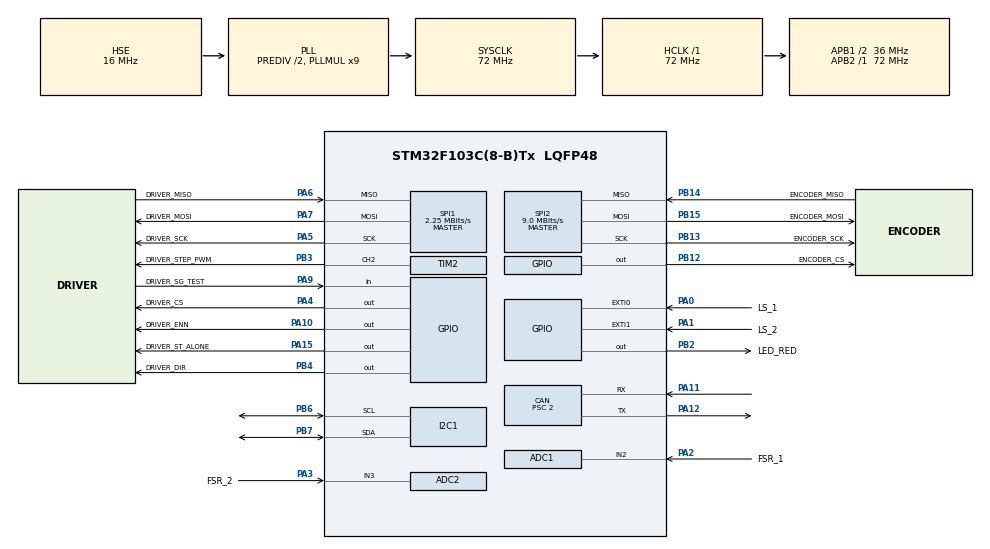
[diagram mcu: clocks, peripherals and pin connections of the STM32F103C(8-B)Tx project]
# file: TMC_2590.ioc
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ADC1.Channel-0\#ChannelRegularConversion=ADC_CHANNEL_2
ADC1.EnableAnalogWatchDog=true
ADC1.NbrOfConversionFlag=1
ADC1.Rank-0\#ChannelRegularConversion=1
ADC1.SamplingTime-0\#ChannelRegularConversion=ADC_SAMPLETIME_1CYCLE_5
ADC1.WatchdogChannel=ADC_CHANNEL_2
ADC1.master=1
ADC2.Channel-0\#ChannelRegularConversion=ADC_CHANNEL_3
ADC2.EnableAnalogWatchDog=true
ADC2.NbrOfConversionFlag=1
ADC2.Rank-0\#ChannelRegularConversion=1
ADC2.SamplingTime-0\#ChannelRegularConversion=ADC_SAMPLETIME_1CYCLE_5
ADC2.WatchdogChannel=ADC_CHANNEL_3
CAN.BS1=CAN_BS1_15TQ
CAN.BS2=CAN_BS2_2TQ
CAN.CalculateBaudRate=1000000
CAN.CalculateTimeBit=1000
CAN.CalculateTimeQuantum=55.55555555555556
CAN.NART=ENABLE
CAN.Prescaler=2
CAN.SJW=CAN_SJW_2TQ
Mcu.Family=STM32F1
Mcu.Name=STM32F103C(8-B)Tx
Mcu.Package=LQFP48
NVIC.ADC1_2_IRQn=true\:0\:0\:false\:false\:true\:true\:true\:true
NVIC.EXTI0_IRQn=true\:1\:0\:true\:false\:true\:true\:true\:true
NVIC.EXTI1_IRQn=true\:1\:0\:true\:false\:true\:true\:true\:true
NVIC.PriorityGroup=NVIC_PRIORITYGROUP_4
NVIC.USB_LP_CAN1_RX0_IRQn=true\:2\:0\:true\:false\:true\:true\:true\:true
PA0-WKUP.GPIO_Label=LS_1
PA0-WKUP.GPIO_ModeDefaultEXTI=GPIO_MODE_IT_RISING_FALLING
PA0-WKUP.Signal=GPXTI0
PA1.GPIO_Label=LS_2
PA1.GPIO_ModeDefaultEXTI=GPIO_MODE_IT_RISING_FALLING
PA1.Signal=GPXTI1
PA10.GPIO_Label=DRIVER_ENN
PA10.Signal=GPIO_Output
PA11.Mode=CAN_Activate
PA11.Signal=CAN_RX
PA12.Mode=CAN_Activate
PA12.Signal=CAN_TX
PA13.Mode=Serial_Wire
PA13.Signal=SYS_JTMS-SWDIO
PA14.Mode=Serial_Wire
PA14.Signal=SYS_JTCK-SWCLK
PA15.GPIO_Label=DRIVER_ST_ALONE
PA15.Signal=GPIO_Output
PA2.GPIO_Label=FSR_1
PA2.Signal=ADCx_IN2
PA3.GPIO_Label=FSR_2
PA3.Signal=ADCx_IN3
PA4.GPIO_Label=DRIVER_CS
PA4.Signal=GPIO_Output
PA5.GPIO_Label=DRIVER_SCK
PA5.Mode=Full_Duplex_Master
PA5.Signal=SPI1_SCK
PA6.GPIO_Label=DRIVER_MISO
PA6.Mode=Full_Duplex_Master
PA6.Signal=SPI1_MISO
PA7.GPIO_Label=DRIVER_MOSI
PA7.Mode=Full_Duplex_Master
PA7.Signal=SPI1_MOSI
PA9.GPIO_Label=DRIVER_SG_TEST
PA9.Signal=GPIO_Input
PB12.GPIO_Label=ENCODER_CS
PB12.Signal=GPIO_Output
PB13.GPIO_Label=ENCODER_SCK
PB13.Mode=Full_Duplex_Master
PB13.Signal=SPI2_SCK
PB14.GPIO_Label=ENCODER_MISO
PB14.Mode=Full_Duplex_Master
PB14.Signal=SPI2_MISO
PB15.GPIO_Label=ENCODER_MOSI
PB15.Mode=Full_Duplex_Master
PB15.Signal=SPI2_MOSI
PB2.GPIO_Label=LED_RED
PB2.Signal=GPIO_Output
PB3.GPIO_Label=DRIVER_STEP_PWM
PB3.Signal=S_TIM2_CH2
PB4.GPIO_Label=DRIVER_DIR
PB4.Signal=GPIO_Output
PB6.Mode=I2C
PB6.Signal=I2C1_SCL
PB7.Mode=I2C
PB7.Signal=I2C1_SDA
PD0-OSC_IN.Mode=HSE-External-Oscillator
PD0-OSC_IN.Signal=RCC_OSC_IN
PD1-OSC_OUT.Mode=HSE-External-Oscillator
PD1-OSC_OUT.Signal=RCC_OSC_OUT
ProjectManager.HeapSize=0x200
ProjectManager.StackSize=0x400
ProjectManager.TargetToolchain=STM32CubeIDE
RCC.ADCPresc=RCC_ADCPCLK2_DIV6
RCC.AHBFreq_Value=72000000
RCC.APB1CLKDivider=RCC_HCLK_DIV2
RCC.APB1Freq_Value=36000000
RCC.APB1TimFreq_Value=72000000
RCC.APB2Freq_Value=72000000
RCC.APB2TimFreq_Value=72000000
RCC.HCLKFreq_Value=72000000
RCC.HSEDivPLL=RCC_HSE_PREDIV_DIV2
RCC.HSE_VALUE=16000000
RCC.PLLMUL=RCC_PLL_MUL9
RCC.PLLSourceVirtual=RCC_PLLSOURCE_HSE
RCC.SYSCLKFreq_VALUE=72000000
RCC.SYSCLKSource=RCC_SYSCLKSOURCE_PLLCLK
RCC.USBFreq_Value=72000000
SH.ADCx_IN2.0=ADC1_IN2,IN2
SH.ADCx_IN3.0=ADC2_IN3,IN3
SH.S_TIM2_CH2.0=TIM2_CH2,PWM Generation2 CH2
SPI1.BaudRatePrescaler=SPI_BAUDRATEPRESCALER_32
SPI1.CalculateBaudRate=2.25 MBits/s
SPI1.Direction=SPI_DIRECTION_2LINES
SPI1.Mode=SPI_MODE_MASTER
SPI1.VirtualType=VM_MASTER
SPI2.BaudRatePrescaler=SPI_BAUDRATEPRESCALER_4
SPI2.CLKPhase=SPI_PHASE_2EDGE
SPI2.CalculateBaudRate=9.0 MBits/s
SPI2.Direction=SPI_DIRECTION_2LINES
SPI2.Mode=SPI_MODE_MASTER
SPI2.VirtualType=VM_MASTER
TIM2.Channel-PWM\ Generation2\ CH2=TIM_CHANNEL_2
TIM2.Period=65535
board=custom

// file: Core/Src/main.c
/* USER CODE BEGIN Header */
/**
 ******************************************************************************
 * @file           : main.c
 * @brief          : Main program body
 ******************************************************************************
 * @attention
 *
 * Copyright (c) 2024 STMicroelectronics.
 * All rights reserved.
 *
 * This software is licensed under terms that can be found in the LICENSE file
 * in the root directory of this software component.
 * If no LICENSE file comes with this software, it is provided AS-IS.
 *
 ******************************************************************************
 */
/* USER CODE END Header */
#include "main.h"
#include "adc.h"
#include "can.h"
#include "i2c.h"
#include "spi.h"
#include "tim.h"
#include "gpio.h"

/* USER CODE BEGIN Includes */
#include "tmc_2590.h"
/* USER CODE END Includes */

/* USER CODE BEGIN PD */

void LS_Released_Callback(LS_NUMBER *num);
void LS_Pressed_Callback(LS_NUMBER *num);

/* USER CODE END PD */

void SystemClock_Config(void);

int main(void)
{

  /* MCU Configuration--------------------------------------------------------*/

  /* Reset of all peripherals, Initializes the Flash interface and the Systick. */
  HAL_Init();

  /* Configure the system clock */
  SystemClock_Config();

  /* Initialize all configured peripherals */
  MX_GPIO_Init();
  MX_CAN_Init();
  MX_I2C1_Init();
  MX_SPI1_Init();
  MX_SPI2_Init();
  MX_ADC1_Init();
  MX_ADC2_Init();
  MX_TIM2_Init();
  /* USER CODE BEGIN 2 */
    MX_TMC_2590_1_Init();
    LS_Initialize();

    uint8_t callbacksSet = 0;

  /* USER CODE END 2 */

  /* Infinite loop */
  /* USER CODE BEGIN WHILE */
    while (1)
    {
        TMC_2590_MoveSteps(&tmc_2590_1, 100);
        HAL_Delay(100);

        //UNCOMMENT BELOW FOR LS TEST - INTERRUPT BASED

        if (!callbacksSet)
        {
            //make this only happen once
            LS_RegisterPressedCallback(&LS_Pressed_Callback);
            LS_RegisterReleasedCallback(&LS_Released_Callback);
            callbacksSet = 1;
        }

        //UNCOMMENT BELOW FOR LS TEST - POLLING BASED
        // LS_STATE button;

        // LS_GetState(LS_1, &button);

        // switch (button)
        // {
        //     case LS_STATE_RELEASED:
        //         HAL_GPIO_WritePin(LED_RED_GPIO_Port, LED_RED_Pin, GPIO_PIN_RESET);
        //         break;
        //     case LS_STATE_PRESSED:
        //         HAL_GPIO_WritePin(LED_RED_GPIO_Port, LED_RED_Pin, GPIO_PIN_RESET);
        //         break;
        //     default:
        //         HAL_GPIO_WritePin(LED_RED_GPIO_Port, LED_RED_Pin, GPIO_PIN_RESET);
        //         break;
        // }

    /* USER CODE END WHILE */

    }
}

void SystemClock_Config(void)
{
  RCC_OscInitTypeDef RCC_OscInitStruct = {0};
  RCC_ClkInitTypeDef RCC_ClkInitStruct = {0};
  RCC_PeriphCLKInitTypeDef PeriphClkInit = {0};

  /** Initializes the RCC Oscillators according to the specified parameters
  * in the RCC_OscInitTypeDef structure.
  */
  RCC_OscInitStruct.OscillatorType = RCC_OSCILLATORTYPE_HSE;
  RCC_OscInitStruct.HSEState = RCC_HSE_ON;
  RCC_OscInitStruct.HSEPredivValue = RCC_HSE_PREDIV_DIV2;
  RCC_OscInitStruct.HSIState = RCC_HSI_ON;
  RCC_OscInitStruct.PLL.PLLState = RCC_PLL_ON;
  RCC_OscInitStruct.PLL.PLLSource = RCC_PLLSOURCE_HSE;
  RCC_OscInitStruct.PLL.PLLMUL = RCC_PLL_MUL9;
  if (HAL_RCC_OscConfig(&RCC_OscInitStruct) != HAL_OK)
  {
    Error_Handler();
  }

  /** Initializes the CPU, AHB and APB buses clocks
  */
  RCC_ClkInitStruct.ClockType = RCC_CLOCKTYPE_HCLK|RCC_CLOCKTYPE_SYSCLK
                              |RCC_CLOCKTYPE_PCLK1|RCC_CLOCKTYPE_PCLK2;
  RCC_ClkInitStruct.SYSCLKSource = RCC_SYSCLKSOURCE_PLLCLK;
  RCC_ClkInitStruct.AHBCLKDivider = RCC_SYSCLK_DIV1;
  RCC_ClkInitStruct.APB1CLKDivider = RCC_HCLK_DIV2;
  RCC_ClkInitStruct.APB2CLKDivider = RCC_HCLK_DIV1;

  if (HAL_RCC_ClockConfig(&RCC_ClkInitStruct, FLASH_LATENCY_2) != HAL_OK)
  {
    Error_Handler();
  }
  PeriphClkInit.PeriphClockSelection = RCC_PERIPHCLK_ADC;
  PeriphClkInit.AdcClockSelection = RCC_ADCPCLK2_DIV6;
  if (HAL_RCCEx_PeriphCLKConfig(&PeriphClkInit) != HAL_OK)
  {
    Error_Handler();
  }
}

/* USER CODE BEGIN 4 */

void LS_Pressed_Callback(LS_NUMBER *num)
{
    HAL_GPIO_WritePin(LED_RED_GPIO_Port, LED_RED_Pin, GPIO_PIN_SET);
}

void LS_Released_Callback(LS_NUMBER *num)
{
    HAL_GPIO_WritePin(LED_RED_GPIO_Port, LED_RED_Pin, GPIO_PIN_RESET);
}

/* USER CODE END 4 */

void Error_Handler(void)
{
    __disable_irq();
    while (1)
    {
    }
}
